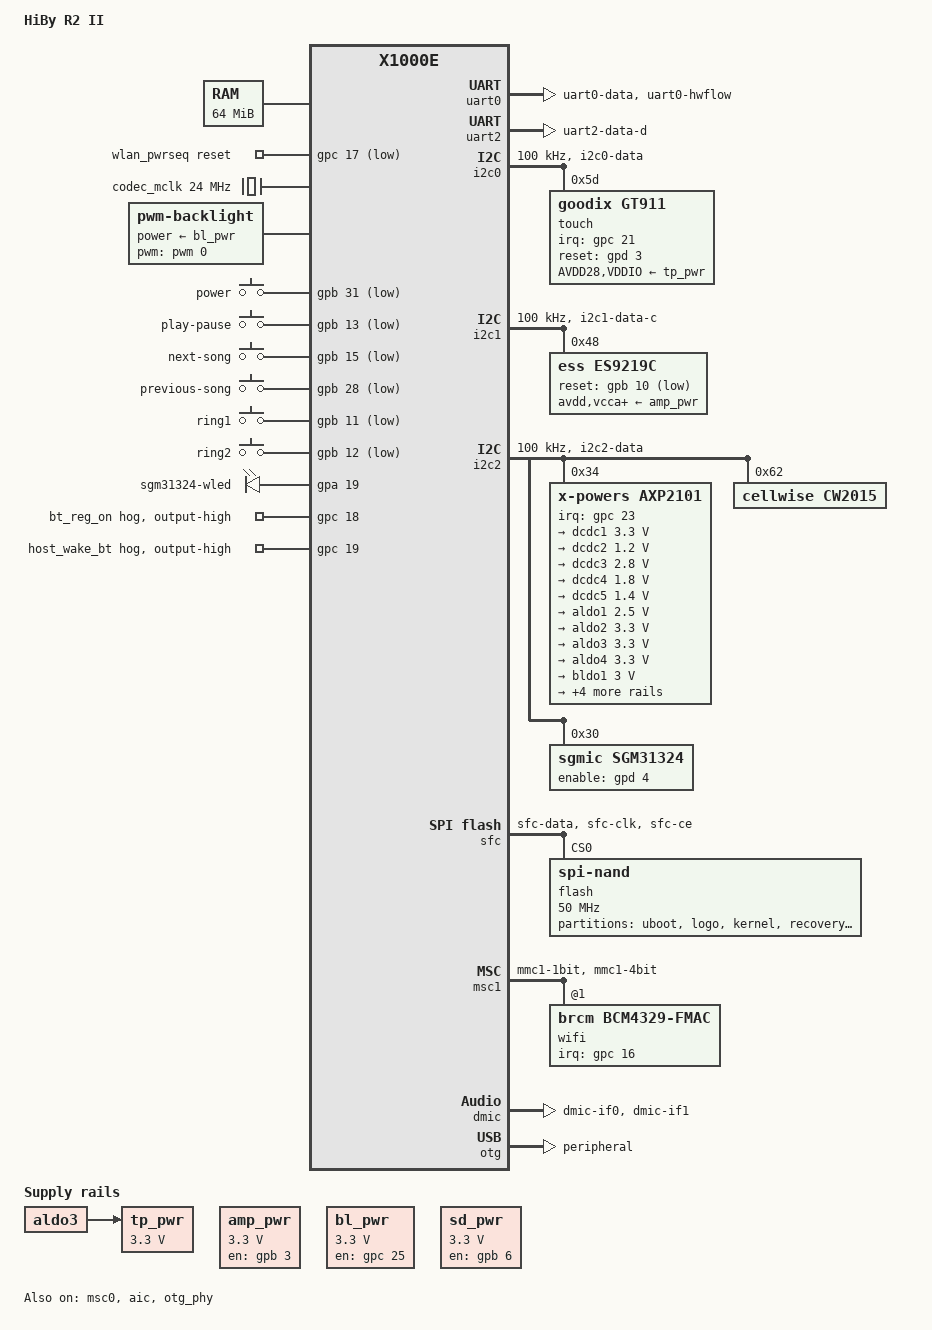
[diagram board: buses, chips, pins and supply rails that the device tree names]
// SPDX-License-Identifier: GPL-2.0
/*
 * HiBy R2 II board (Ingenic X1000E, 64 MiB RAM, 128 MiB SPI-NAND).
 * All values are from live stock-firmware measurements, see
 * docs/LIVE_HARDWARE_MAP.md. This is a POC: panel init sequence is a minimal
 * placeholder and must be replaced from HiBy's board file/datasheet.
 */
/dts-v1/;

#include "x1000.dtsi"
#include <dt-bindings/gpio/gpio.h>
#include <dt-bindings/input/input.h>
#include <dt-bindings/dma/x1000-dma.h>
#include <dt-bindings/clock/ingenic,tcu.h>
#include <dt-bindings/interrupt-controller/irq.h>
#include <dt-bindings/leds/common.h>

/ {
	compatible = "hiby,r2ii", "ingenic,x1000e";
	model = "HiBy R2 II";

	aliases {
		serial2 = &uart2;
	};

	chosen {
		stdout-path = "serial2:115200n8";
		/* U-Boot passes mem=32M@0x0; CONFIG_CMDLINE_OVERRIDE is set in
		 * r2ii_defconfig so this wins. */
		bootargs = "console=ttyS2,115200n8 mem=64M@0x0 no_console_suspend lpj=5009408 ip=off init=/linuxrc ubi.mtd=4 root=ubi0:rootfs ubi.mtd=5 rootfstype=ubifs rw";
		#address-cells = <1>;
		#size-cells = <1>;
		ranges;

		/* U-Boot initialises the SLCD panel and leaves this buffer intact. */
		framebuffer@2200000 {
			compatible = "simple-framebuffer";
			reg = <0x2200000 0x152000>; /* 1384448 bytes = 480*360*4*2 + 48 */
			width = <480>;
			height = <360>;
			stride = <1920>;
			format = "a8r8g8b8";
		};
	};

	reserved-memory {
		#address-cells = <1>;
		#size-cells = <1>;
		ranges;

		/* Keep the scanout buffer away from the buddy allocator, but
		 * leave it mapped so the CPU can draw into it. */
		fb_reserved: framebuffer@2200000 {
			reg = <0x2200000 0x152000>;
		};
	};

	memory@0 {
		device_type = "memory";
		reg = <0x0 0x04000000>;
	};

	/* GPIO_AMP_PWR (GPIO 35 = PB3) feeds every ES9219C supply, vcc_dmic and
	 * sa04-pullup33 on the stock board (debugfs regulator/supply_map). */
	amp_pwr: regulator-amp {
		compatible = "regulator-fixed";
		regulator-name = "GPIO_AMP_PWR";
		gpio = <&gpb 3 GPIO_ACTIVE_HIGH>;
		enable-active-high;
		regulator-min-microvolt = <3300000>;
		regulator-max-microvolt = <3300000>;
		regulator-always-on;
	};

	/* Virtual touch supply.  The GT911 is powered from the AXP2101, but
	 * the PMIC only probes after the i2c0 bus (and therefore Goodix) has
	 * registered.  This pass-through regulator uses an AXP rail as its
	 * parent purely to make Goodix defer until the PMIC rails are up;
	 * without it the controller is unpowered and the ID read times out. */
	tp_pwr: regulator-touch {
		compatible = "regulator-fixed";
		regulator-name = "TP PWR";
		regulator-min-microvolt = <3300000>;
		regulator-max-microvolt = <3300000>;
		vin-supply = <&aldo3>;
		regulator-always-on;
	};

	bl_pwr: regulator-backlight {
		compatible = "regulator-fixed";
		regulator-name = "BL PWR";
		gpio = <&gpc 25 GPIO_ACTIVE_HIGH>;	/* GPIO 89 */
		enable-active-high;
		regulator-min-microvolt = <3300000>;
		regulator-max-microvolt = <3300000>;
		regulator-always-on;
	};

	/* GPIO 38 (PB6) powers the SD card; stock jzmmc drives it high. */
	sd_pwr: regulator-sd {
		compatible = "regulator-fixed";
		regulator-name = "SD PWR";
		gpio = <&gpb 6 GPIO_ACTIVE_HIGH>;
		enable-active-high;
		regulator-min-microvolt = <3300000>;
		regulator-max-microvolt = <3300000>;
	};

	wlan_pwrseq: wlan-pwrseq {
		compatible = "mmc-pwrseq-simple";
		reset-gpios = <&gpc 17 GPIO_ACTIVE_LOW>;	/* GPIO 81 wifi_reset */
		post-power-on-delay-ms = <200>;
	};

	codec_mclk: codec-mclk {
		compatible = "fixed-clock";
		#clock-cells = <0>;
		clock-frequency = <24000000>;
		clock-accuracy = <100>;
	};


	sound {
		compatible = "simple-audio-card";
		simple-audio-card,name = "r2";
		simple-audio-card,format = "i2s";
		simple-audio-card,bitclock-master = <&dai_codec>;
		simple-audio-card,frame-master = <&dai_codec>;

		dai_cpu: simple-audio-card,cpu {
			sound-dai = <&aic>;
			system-clock-frequency = <24000000>;
			system-clock-direction-out;
		};

		dai_codec: simple-audio-card,codec {
			sound-dai = <&es9219c>;
			system-clock-frequency = <24000000>;
		};
	};

	/* Backlight: PWM0, BL PWR on GPIO 89 */
	backlight: backlight {
		compatible = "pwm-backlight";
		pwms = <&pwm 0 5000000 0>;
		pinctrl-names = "default";
		pinctrl-0 = <&pins_pwm0>;
		power-supply = <&bl_pwr>;
		brightness-levels = <0 64 128 192 255>;
		num-interpolated-steps = <64>;
		default-brightness-level = <192>;
	};

	/* Keys: ring1/ring2 are plain GPIOs (EV_KEY), not a rotary encoder. */
	gpio-keys {
		compatible = "gpio-keys";

		power {
			label = "power";
			linux,code = <KEY_POWER>;
			gpios = <&gpb 31 GPIO_ACTIVE_LOW>;	/* GPIO 63 */
			wakeup-source;
		};
		play {
			label = "play-pause";
			linux,code = <KEY_PLAYPAUSE>;
			gpios = <&gpb 13 GPIO_ACTIVE_LOW>;	/* GPIO 45 */
		};
		next {
			label = "next-song";
			linux,code = <KEY_NEXTSONG>;
			gpios = <&gpb 15 GPIO_ACTIVE_LOW>;	/* GPIO 47 */
		};
		prev {
			label = "previous-song";
			linux,code = <KEY_PREVIOUSSONG>;
			gpios = <&gpb 28 GPIO_ACTIVE_LOW>;	/* GPIO 60 */
		};
		ring1 {
			label = "ring1";
			linux,code = <KEY_NEXTSONG>;
			gpios = <&gpb 11 GPIO_ACTIVE_LOW>;	/* GPIO 43 */
		};
		ring2 {
			label = "ring2";
			linux,code = <KEY_PREVIOUSSONG>;
			gpios = <&gpb 12 GPIO_ACTIVE_LOW>;	/* GPIO 44 */
		};
	};

	/* HiBy-specific devices: driver modules to be ported from the open
	 * sources in docs/DRIVER_SOURCE_SPIKE.md. Kept as nodes so the POC DTS
	 * documents the complete hardware. */
	leds {
		compatible = "gpio-leds";
		wled {
			label = "sgm31324-wled";
			gpios = <&gpa 19 GPIO_ACTIVE_HIGH>;	/* GPIO 19 */
		};
	};
};

&exclk {
	clock-frequency = <24000000>;
};

&tcu {
	/* Channel 0 is the physical backlight PWM; reserve 1/2 for timers. */
	assigned-clocks = <&tcu TCU_CLK_TIMER1>, <&tcu TCU_CLK_TIMER2>;
	assigned-clock-rates = <1500000>, <1500000>;
	ingenic,pwm-channels-mask = <0xf9>;
};

&uart0 {
	status = "okay";
	pinctrl-names = "default";
	pinctrl-0 = <&pins_uart0>;

};

&uart2 {
	status = "okay";
	pinctrl-names = "default";
	pinctrl-0 = <&pins_uart2>;
};

&i2c0 {
	status = "okay";
	clock-frequency = <100000>;
	pinctrl-names = "default";
	pinctrl-0 = <&pins_i2c0>;

	touch@5d {
		compatible = "goodix,gt911";
		reg = <0x5d>;
		interrupt-parent = <&gpc>;
		interrupts = <21 IRQ_TYPE_EDGE_FALLING>;	/* GPIO 85 */
		irq-gpios = <&gpc 21 GPIO_ACTIVE_HIGH>;		/* GPIO 85 GTP_INT_IRQ */
		/* driver drives raw 0->1: low asserts reset, high releases it */
		reset-gpios = <&gpd 3 GPIO_ACTIVE_HIGH>;		/* GPIO 99 */
		AVDD28-supply = <&tp_pwr>;
		VDDIO-supply = <&tp_pwr>;
		touchscreen-size-x = <480>;
		touchscreen-size-y = <360>;
	};
};

&i2c1 {
	status = "okay";
	clock-frequency = <100000>;
	pinctrl-names = "default";
	pinctrl-0 = <&pins_i2c1>;

	/* ES9219C DAC/HPA, I2C1 @ 0x48. Native in-tree ASoC codec driver. */
	es9219c: dac@48 {
		compatible = "ess,es9219c";
		reg = <0x48>;
		#sound-dai-cells = <0>;
		avdd-supply = <&amp_pwr>;
		vcca-supply = <&amp_pwr>;
		avcc3v3-supply = <&amp_pwr>;
		avcc1v8-supply = <&amp_pwr>;
		clocks = <&codec_mclk>;
		clock-names = "mclk";
		reset-gpios = <&gpb 10 GPIO_ACTIVE_LOW>;	/* GPIO 42 */
		ess,max-clock-div = <1>;
		ess,oscillator-pad-bias = <0>;
	};
};

&i2c2 {
	status = "okay";
	clock-frequency = <100000>;
	pinctrl-names = "default";
	pinctrl-0 = <&pins_i2c2>;

	axp2101@34 {
		compatible = "x-powers,axp2101";
		reg = <0x34>;
		pinctrl-names = "default";
		pinctrl-0 = <&pins_axp_irq>;
		interrupt-parent = <&gpc>;
		interrupts = <23 IRQ_TYPE_LEVEL_LOW>;	/* GPIO 87 axp_irq */
		interrupt-controller;
		#interrupt-cells = <1>;

		/* AXP2101 rails now handled by the in-tree axp20x regulator
		 * driver; values from live stock firmware (LIVE_HARDWARE_MAP.md). */
		regulators {
			dcdc1: dcdc1 {
				regulator-name = "dcdc1";
				regulator-min-microvolt = <3300000>;
				regulator-max-microvolt = <3300000>;
				regulator-always-on;
				regulator-boot-on;
			};
			dcdc2: dcdc2 {
				regulator-name = "dcdc2";
				regulator-min-microvolt = <1200000>;
				regulator-max-microvolt = <1200000>;
				regulator-always-on;
				regulator-boot-on;
			};
			dcdc3: dcdc3 {
				regulator-name = "dcdc3";
				regulator-min-microvolt = <2800000>;
				regulator-max-microvolt = <2800000>;
			};
			dcdc4: dcdc4 {
				regulator-name = "dcdc4";
				regulator-min-microvolt = <1800000>;
				regulator-max-microvolt = <1800000>;
				regulator-always-on;
				regulator-boot-on;
			};
			dcdc5: dcdc5 {
				regulator-name = "dcdc5";
				regulator-min-microvolt = <1400000>;
				regulator-max-microvolt = <1400000>;
			};
			aldo1: aldo1 {
				regulator-name = "aldo1";
				regulator-min-microvolt = <2500000>;
				regulator-max-microvolt = <2500000>;
				regulator-always-on;
				regulator-boot-on;
			};
			aldo2: aldo2 {
				regulator-name = "aldo2";
				regulator-min-microvolt = <3300000>;
				regulator-max-microvolt = <3300000>;
				regulator-always-on;
				regulator-boot-on;
			};
			aldo3: aldo3 {
				regulator-name = "aldo3";
				regulator-min-microvolt = <3300000>;
				regulator-max-microvolt = <3300000>;
				regulator-always-on;
				regulator-boot-on;
			};
			aldo4: aldo4 {
				regulator-name = "aldo4";
				regulator-min-microvolt = <3300000>;
				regulator-max-microvolt = <3300000>;
			};
			bldo1: bldo1 {
				regulator-name = "bldo1";
				regulator-min-microvolt = <3000000>;
				regulator-max-microvolt = <3000000>;
			};
			bldo2: bldo2 {
				regulator-name = "bldo2";
				regulator-min-microvolt = <1800000>;
				regulator-max-microvolt = <1800000>;
			};
			dldo1: dldo1 {
				regulator-name = "dldo1";
				regulator-min-microvolt = <3300000>;
				regulator-max-microvolt = <3300000>;
			};
			dldo2: dldo2 {
				regulator-name = "dldo2";
				regulator-min-microvolt = <1250000>;
				regulator-max-microvolt = <1250000>;
			};
			cpusldo: cpusldo {
				regulator-name = "cpusldo";
				regulator-min-microvolt = <500000>;
				regulator-max-microvolt = <500000>;
			};
		};
		axp_usb: axp_usb {
			compatible = "x-powers,axp2101-usb-power-supply";
		};
		axp_battery: axp_battery {
			compatible = "x-powers,axp2101-battery-power-supply";
		};
	};

	cw2015@62 {
		compatible = "cellwise,cw2015";
		reg = <0x62>;
		power-supplies = <&axp_usb>;
		/* 64-byte profile extracted from the stock cwfg_gauge driver. */
		cellwise,battery-profile = /bits/ 8 <
			0x17 0x67 0x67 0x65 0x65 0x63 0x62 0x5f
			0x5d 0x61 0x5d 0x5d 0x54 0x49 0x42 0x3b
			0x35 0x2f 0x2a 0x2a 0x2f 0x33 0x40 0x4b
			0x2b 0x2b 0x0c 0xcd 0x4b 0x75 0x74 0x88
			0x8a 0x87 0x84 0x86 0x43 0x1b 0x6b 0x31
			0x09 0x59 0x12 0x3f 0x7f 0x97 0xa7 0x3b
			0x58 0x6e 0x98 0xb0 0x80 0xda 0xea 0xcb
			0x2f 0x00 0x64 0xa5 0xb5 0x08 0x40 0x51>;
	};

	sgm31324@30 {
		compatible = "sgmic,sgm31324";
		reg = <0x30>;
		enable-gpios = <&gpd 4 GPIO_ACTIVE_HIGH>;	/* GPIO 100 */

		multi-led {
			color = <LED_COLOR_ID_RGB>;
			function = LED_FUNCTION_STATUS;
			#address-cells = <1>;
			#size-cells = <0>;

			led@1 {
				reg = <1>;
				color = <LED_COLOR_ID_RED>;
			};
			led@2 {
				reg = <2>;
				color = <LED_COLOR_ID_GREEN>;
			};
			led@3 {
				reg = <3>;
				color = <LED_COLOR_ID_BLUE>;
			};
		};
	};
};

&sfc {
	status = "okay";
	pinctrl-names = "default";
	pinctrl-0 = <&pins_sfc>;
	#address-cells = <1>;
	#size-cells = <0>;

	flash@0 {
		compatible = "spi-nand";
		reg = <0>;
		spi-max-frequency = <50000000>;
		spi-rx-bus-width = <4>;
		spi-tx-bus-width = <4>;

		partitions {
			compatible = "fixed-partitions";
			#address-cells = <1>;
			#size-cells = <1>;

			uboot@0 {
				label = "uboot";
				reg = <0x00000000 0x00080000>;
				read-only;
			};
			logo@80000 {
				label = "logo";
				reg = <0x00080000 0x00280000>;
			};
			kernel@300000 {
				label = "kernel";
				reg = <0x00300000 0x00600000>;
				read-only;
			};
			recovery@900000 {
				label = "recovery";
				reg = <0x00900000 0x00700000>;
				read-only;
			};
			rootfs@1000000 {
				label = "rootfs";
				reg = <0x01000000 0x04000000>;
			};
			data@5000000 {
				label = "data";
				reg = <0x05000000 0x03000000>;
			};
		};
	};
};

&msc0 {
	status = "okay";
	dmas = <&pdma X1000_DMA_MSC0_RX>, <&pdma X1000_DMA_MSC0_TX>;
	dma-names = "rx", "tx";
	bus-width = <4>;
	max-frequency = <50000000>;
	vmmc-supply = <&sd_pwr>;
	cd-gpios = <&gpb 7 GPIO_ACTIVE_LOW>;	/* GPIO 39 mmc_detect */
	pinctrl-names = "default";
	pinctrl-0 = <&pins_msc0>;
};

&msc1 {
	status = "okay";
	dmas = <&pdma X1000_DMA_MSC1_RX>, <&pdma X1000_DMA_MSC1_TX>;
	dma-names = "rx", "tx";
	#address-cells = <1>;
	#size-cells = <0>;
	bus-width = <4>;
	max-frequency = <50000000>;
	mmc-pwrseq = <&wlan_pwrseq>;
	pinctrl-names = "default";
	pinctrl-0 = <&pins_msc1>;
	non-removable;
	cap-power-off-card;
	keep-power-in-suspend;
	wakeup-source;

	wifi@1 {
		compatible = "brcm,bcm4329-fmac";
		reg = <1>;
		interrupt-parent = <&gpc>;
		interrupts = <16 IRQ_TYPE_EDGE_FALLING>;	/* GPIO 80 oob irq */
		interrupt-names = "host-wake";
		wakeup-source;
	};
};

&aic {
	status = "okay";
	pinctrl-names = "default";
	pinctrl-0 = <&pins_i2s>;
};

&dmic {
	status = "okay";
	pinctrl-names = "default";
	pinctrl-0 = <&pins_dmic>;
};

&slcd {
	status = "disabled";
	pinctrl-names = "default";
	pinctrl-0 = <&pins_slcd>;
	reset-gpios = <&gpa 16 GPIO_ACTIVE_LOW>;	/* GPIO 16 lcd rst */
	rd-gpios = <&gpb 16 GPIO_ACTIVE_LOW>;		/* GPIO 48 lcd rd */
	width = <480>;
	height = <360>;
	buswidth = <8>;
	bpp = <24>;
	bus-max-speed = <15000000>;
	/* PLACEHOLDER: replace with the real panel init sequence. */
	init-sequence = /bits/ 16 <
		1 0x11
		3 120
		1 0x3a 2 0x06
		1 0x29
	>;
	write-sequence = /bits/ 16 < 1 0x2c >;
};

&otg_phy {
	status = "okay";
};

&otg {
	status = "okay";
	dr_mode = "peripheral";
};

/* BCM4343A1: BT_REG_ON and host->chip BT_WAKE are kept high, as stock does.
 * Firmware is loaded from userspace over /dev/ttyS0 by brcm_patchram_plus.
 */
&gpc {
	bt-reg-on-hog {
		gpio-hog;
		gpios = <18 GPIO_ACTIVE_HIGH>;		/* GPIO 82 bt_reg_on */
		output-high;
		line-name = "bt_reg_on";
	};

	bt-wake-hog {
		gpio-hog;
		gpios = <19 GPIO_ACTIVE_HIGH>;		/* GPIO 83 host_wake_bt */
		output-high;
		line-name = "host_wake_bt";
	};
};

&pinctrl {
	/* AXP2101 INT is open-drain active-low; stock leaves PC23 high at idle. */
	pins_axp_irq: axp-irq {
		pins = "PC23";
		bias-pull-up;
	};
	pins_pwm0: pwm0 {
		function = "pwm0";
		groups = "pwm0";
	};
	pins_uart0: uart0 {
		function = "uart0";
		groups = "uart0-data", "uart0-hwflow";
	};
	pins_uart2: uart2 {
		function = "uart2";
		groups = "uart2-data-d";
	};
	pins_i2c0: i2c0 {
		function = "i2c0";
		groups = "i2c0-data";
		bias-pull-up;
	};
	pins_i2c1: i2c1 {
		function = "i2c1";
		groups = "i2c1-data-c";
		bias-pull-up;
	};
	pins_i2c2: i2c2 {
		function = "i2c2";
		groups = "i2c2-data";
	};
	pins_sfc: sfc {
		function = "sfc";
		groups = "sfc-data", "sfc-clk", "sfc-ce";
	};
	pins_msc0: msc0 {
		function = "mmc0";
		groups = "mmc0-1bit", "mmc0-4bit";
		bias-disable;
	};
	pins_msc1: msc1 {
		function = "mmc1";
		groups = "mmc1-1bit", "mmc1-4bit";
		bias-disable;
	};
	pins_i2s: i2s {
		function = "i2s";
		groups = "i2s-data-tx", "i2s-data-rx", "i2s-clk-txrx", "i2s-sysclk";
	};
	pins_dmic: dmic {
		function = "dmic";
		groups = "dmic-if0", "dmic-if1";
	};
	pins_slcd: slcd {
		function = "lcd";
		groups = "lcd-8bit";
	};
};
